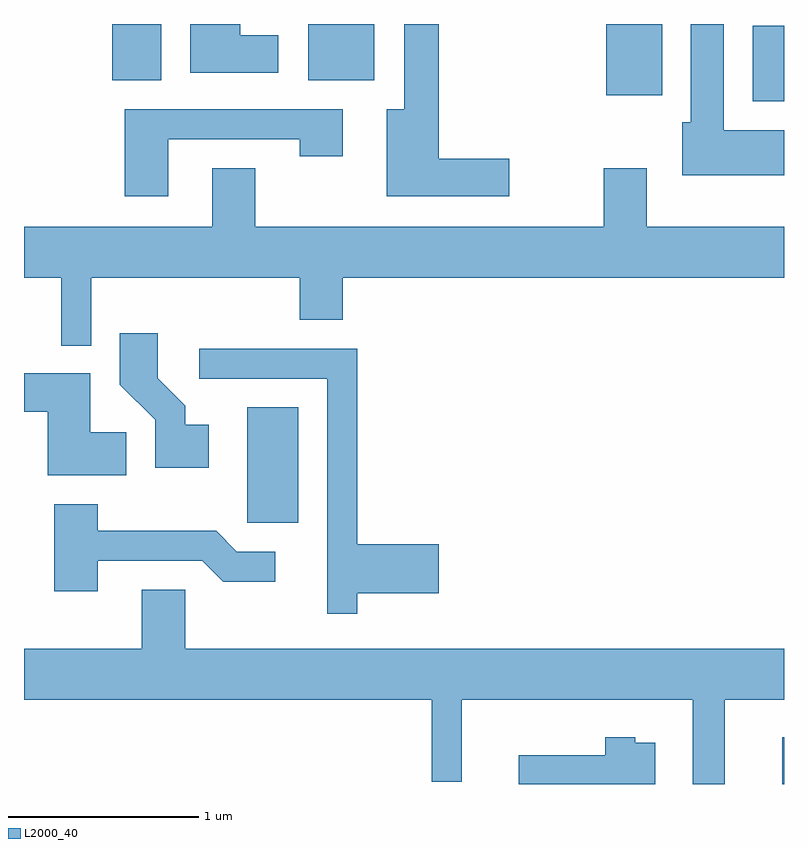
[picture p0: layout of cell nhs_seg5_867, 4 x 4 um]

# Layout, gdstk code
import gdstk
lib = gdstk.Library(unit=1e-6, precision=1e-09)
def R(c, l, rs):  # rectangles x0, y0, x1, y1
    for r in rs: c.add(gdstk.rectangle(r[:2], r[2:], *l))
def P(c, l, *ps):  # polygons
    for p in ps: c.add(gdstk.Polygon(p, *l))
L2000_40 = (2000, 40)

nhs_seg5_867 = lib.new_cell('nhs_seg5_867')
R(nhs_seg5_867, L2000_40, [(213.601,1514.072,213.611,1514.319), (210.786,1515.446,211.054,1516.054), (213.446,1517.666,213.611,1518.064), (212.676,1517.696,212.969,1518.072), (210.076,1517.776,210.334,1518.072), (211.106,1517.776,211.454,1518.072)])
P(nhs_seg5_867, L2000_40, [(213.611,1517.514),(213.294,1517.514),(213.294,1518.072),(213.121,1518.072),(213.121,1517.554),(213.076,1517.554),(213.076,1517.276),(213.611,1517.276)],
  [(210.949,1518.014),(210.749,1518.014),(210.749,1518.072),(210.486,1518.072),(210.486,1517.816),(210.949,1517.816)],
  [(212.164,1517.364),(211.794,1517.364),(211.794,1518.072),(211.611,1518.072),(211.611,1517.624),(211.521,1517.624),(211.521,1517.166),(212.164,1517.166)],
  [(210.369,1517.466),(211.061,1517.466),(211.061,1517.376),(211.289,1517.376),(211.289,1517.624),(210.141,1517.624),(210.141,1517.166),(210.369,1517.166)],
  [(212.661,1517.314),(212.661,1517.004),(210.829,1517.004),(210.829,1517.314),(210.601,1517.314),(210.601,1517.004),(209.611,1517.004),(209.611,1516.736),(209.806,1516.736),(209.806,1516.378),(209.964,1516.378),(209.964,1516.736),(211.061,1516.736),(211.061,1516.516),(211.289,1516.516),(211.289,1516.736),(213.611,1516.736),(213.611,1517.004),(212.889,1517.004),(212.889,1517.314)],
  [(210.584,1515.964),(210.459,1515.964),(210.459,1516.062),(210.314,1516.207),(210.314,1516.444),(210.116,1516.444),(210.116,1516.174),(210.301,1515.989),(210.301,1515.736),(210.584,1515.736)],
  [(211.364,1515.076),(211.794,1515.076),(211.794,1515.334),(211.364,1515.334),(211.364,1516.364),(210.533,1516.364),(210.533,1516.206),(211.206,1516.206),(211.206,1514.968),(211.364,1514.968)],
  [(210.149,1515.924),(209.959,1515.924),(209.959,1516.234),(209.611,1516.234),(209.611,1516.031),(209.736,1516.031),(209.736,1515.696),(210.149,1515.696)],
  [(209.999,1515.246),(210.549,1515.246),(210.659,1515.136),(210.933,1515.136),(210.933,1515.294),(210.732,1515.294),(210.622,1515.404),(209.999,1515.404),(209.999,1515.544),(209.771,1515.544),(209.771,1515.086),(209.999,1515.086)],
  [(213.299,1514.516),(213.611,1514.516),(213.611,1514.784),(210.459,1514.784),(210.459,1515.094),(210.231,1515.094),(210.231,1514.784),(209.611,1514.784),(209.611,1514.516),(211.756,1514.516),(211.756,1514.083),(211.914,1514.083),(211.914,1514.516),(213.131,1514.516),(213.131,1514.072),(213.299,1514.072)],
  [(212.934,1514.289),(212.829,1514.289),(212.829,1514.319),(212.671,1514.319),(212.671,1514.224),(212.216,1514.224),(212.216,1514.072),(212.934,1514.072)])

lib.write_gds('nhs_seg5_867.gds')
